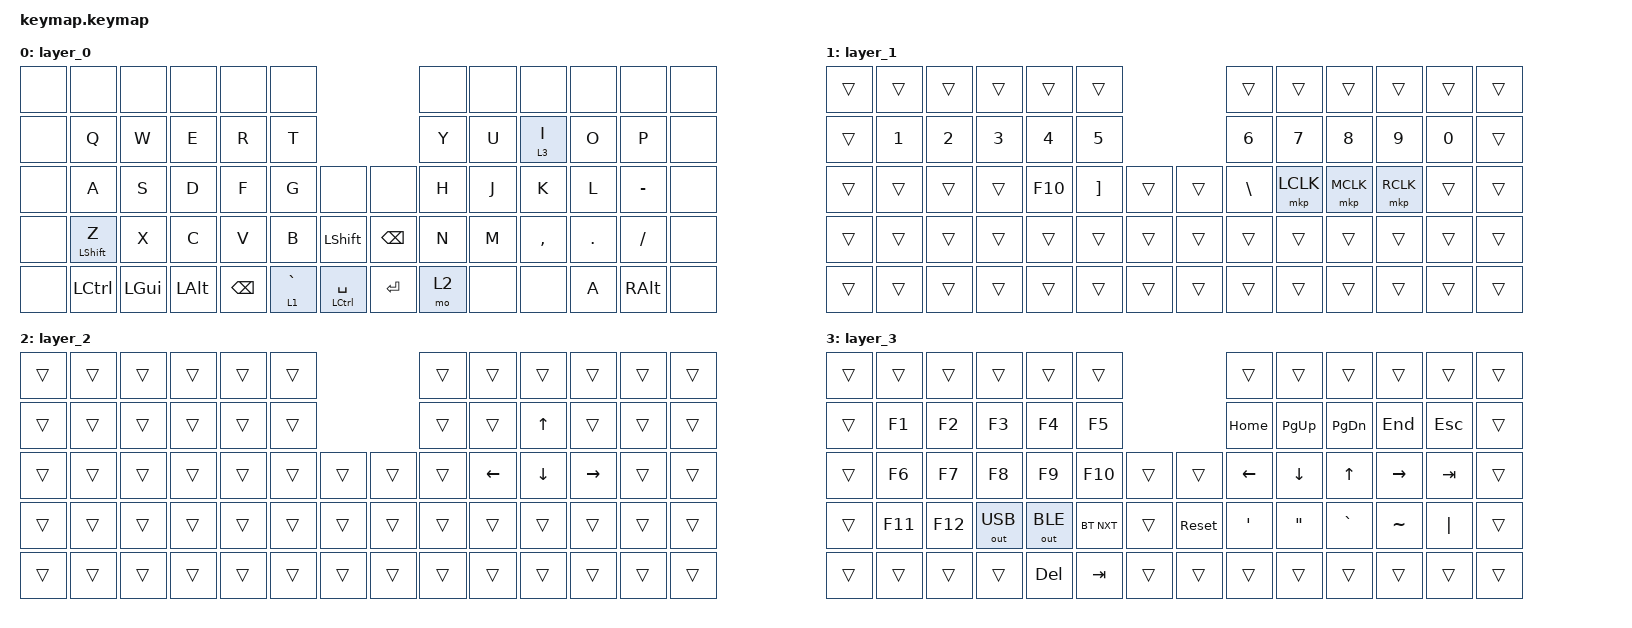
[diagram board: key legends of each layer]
#include <behaviors.dtsi>
#include <dt-bindings/zmk/bt.h>
#include <dt-bindings/zmk/keys.h>
#include <dt-bindings/zmk/outputs.h>
#include <dt-bindings/zmk/pointing.h>

/ {
    combos {
        compatible = "zmk,combos";

        bt_clear {
            bindings = <&bt BT_CLR>;
            key-positions = <28 29>;
            layers = <2>;
        };
    };

    keymap {
        compatible = "zmk,keymap";

        layer_0 {
            bindings = <
&none  &none             &none     &none     &none     &none                                        &none  &none  &none      &none    &none          &none
&none  &kp Q             &kp W     &kp E     &kp R     &kp T                                        &kp Y  &kp U  &lt 3 I    &kp O    &kp P          &none
&none  &kp A             &kp S     &kp D     &kp F     &kp G        &none            &none          &kp H  &kp J  &kp K      &kp L    &kp MINUS      &none
&none  &mt LEFT_SHIFT Z  &kp X     &kp C     &kp V     &kp B        &kp LEFT_SHIFT   &kp BACKSPACE  &kp N  &kp M  &kp COMMA  &kp DOT  &kp SLASH      &none
&none  &kp LCTRL         &kp LGUI  &kp LALT  &kp BSPC  &lt 1 GRAVE  &mt LCTRL SPACE  &kp ENTER      &mo 2  &none  &none      &kp A    &kp RIGHT_ALT  &none
            >;
        };

        layer_1 {
            bindings = <
&trans  &trans        &trans        &trans        &trans        &trans                             &trans         &trans     &trans        &trans        &trans        &trans
&trans  &kp NUMBER_1  &kp NUMBER_2  &kp NUMBER_3  &kp NUMBER_4  &kp N5                             &kp NUMBER_6   &kp N7     &kp NUMBER_8  &kp NUMBER_9  &kp NUMBER_0  &trans
&trans  &trans        &trans        &trans        &kp F10       &kp RIGHT_BRACKET  &trans  &trans  &kp BACKSLASH  &mkp LCLK  &mkp MCLK     &mkp RCLK     &trans        &trans
&trans  &trans        &trans        &trans        &trans        &trans             &trans  &trans  &trans         &trans     &trans        &trans        &trans        &trans
&trans  &trans        &trans        &trans        &trans        &trans             &trans  &trans  &trans         &trans     &trans        &trans        &trans        &trans
            >;
        };

        layer_2 {
            bindings = <
&trans  &trans  &trans  &trans  &trans  &trans                  &trans  &trans    &trans    &trans     &trans  &trans
&trans  &trans  &trans  &trans  &trans  &trans                  &trans  &trans    &kp UP    &trans     &trans  &trans
&trans  &trans  &trans  &trans  &trans  &trans  &trans  &trans  &trans  &kp LEFT  &kp DOWN  &kp RIGHT  &trans  &trans
&trans  &trans  &trans  &trans  &trans  &trans  &trans  &trans  &trans  &trans    &trans    &trans     &trans  &trans
&trans  &trans  &trans  &trans  &trans  &trans  &trans  &trans  &trans  &trans    &trans    &trans     &trans  &trans
            >;
        };

        layer_3 {
            bindings = <
&trans  &trans   &trans   &trans        &trans        &trans                          &trans            &trans     &trans         &trans     &trans      &trans
&trans  &kp F1   &kp F2   &kp F3        &kp F4        &kp F5                          &kp HOME          &kp PG_UP  &kp PAGE_DOWN  &kp END    &kp ESCAPE  &trans
&trans  &kp F6   &kp F7   &kp F8        &kp F9        &kp F10     &trans  &trans      &kp LEFT          &kp DOWN   &kp UP_ARROW   &kp RIGHT  &kp TAB     &trans
&trans  &kp F11  &kp F12  &out OUT_USB  &out OUT_BLE  &bt BT_NXT  &trans  &sys_reset  &kp SINGLE_QUOTE  &kp DQT    &kp GRAVE      &kp TILDE  &kp PIPE    &trans
&trans  &trans   &trans   &trans        &kp DELETE    &kp TAB     &trans  &trans      &trans            &trans     &trans         &trans     &trans      &trans
            >;
        };
    };
};
